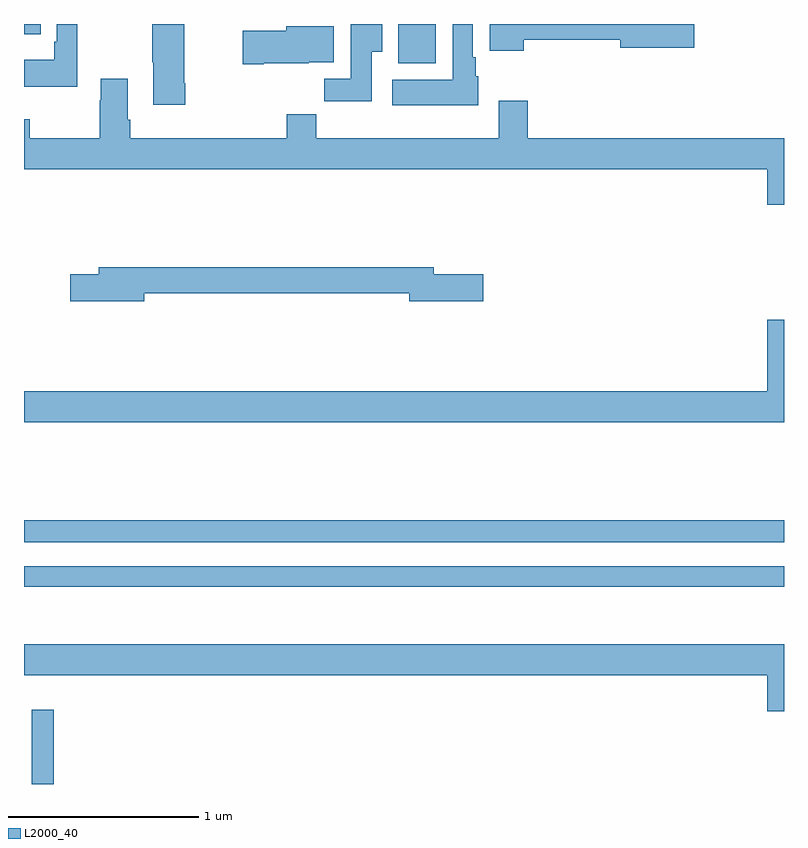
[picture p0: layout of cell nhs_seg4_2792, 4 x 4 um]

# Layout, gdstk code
import gdstk
lib = gdstk.Library(unit=1e-6, precision=1e-09)
def R(c, l, rs):  # rectangles x0, y0, x1, y1
    for r in rs: c.add(gdstk.rectangle(r[:2], r[2:], *l))
def P(c, l, *ps):  # polygons
    for p in ps: c.add(gdstk.Polygon(p, *l))
L2000_40 = (2000, 40)

nhs_seg4_2792 = lib.new_cell('nhs_seg4_2792')
R(nhs_seg4_2792, L2000_40, [(257.04,810.9,257.156,811.291), (257,811.938,261,812.046), (257,812.172,261,812.288), (258.971,814.694,259.168,814.9), (257,814.847,257.087,814.9)])
P(nhs_seg4_2792, L2000_40, [(257.281,814.9),(257.172,814.9),(257.172,814.807),(257.16,814.807),(257.16,814.711),(257,814.711),(257,814.571),(257.281,814.571)],
  [(259.63,814.816),(260.138,814.816),(260.138,814.774),(260.527,814.774),(260.527,814.9),(259.451,814.9),(259.451,814.76),(259.63,814.76)],
  [(258.829,814.753),(258.886,814.753),(258.886,814.9),(258.719,814.9),(258.719,814.612),(258.58,814.612),(258.58,814.494),(258.829,814.494)],
  [(259.39,814.626),(259.378,814.626),(259.378,814.726),(259.363,814.726),(259.363,814.9),(259.256,814.9),(259.256,814.606),(258.939,814.606),(258.939,814.472),(259.39,814.472)],
  [(257.849,814.588),(257.844,814.588),(257.844,814.9),(257.674,814.9),(257.674,814.699),(257.681,814.699),(257.681,814.476),(257.849,814.476)],
  [(258.262,814.694),(258.498,814.694),(258.498,814.7),(258.631,814.7),(258.631,814.888),(258.38,814.888),(258.38,814.865),(258.15,814.865),(258.15,814.687),(258.262,814.687)],
  [(261,814.3),(259.652,814.3),(259.652,814.495),(259.499,814.495),(259.499,814.3),(258.539,814.3),(258.539,814.424),(258.383,814.424),(258.383,814.3),(257.558,814.3),(257.558,814.396),(257.545,814.396),(257.545,814.612),(257.405,814.612),(257.405,814.499),(257.398,814.499),(257.398,814.3),(257.031,814.3),(257.031,814.399),(257,814.399),(257,814.136),(260.912,814.136),(260.912,813.948),(261,813.948)],
  [(257.632,813.484),(259.028,813.484),(259.028,813.442),(259.416,813.442),(259.416,813.584),(259.156,813.584),(259.156,813.62),(257.393,813.62),(257.393,813.584),(257.244,813.584),(257.244,813.442),(257.632,813.442)],
  [(261,813.343),(260.912,813.343),(260.912,812.968),(257,812.968),(257,812.804),(261,812.804)],
  [(261,811.636),(257,811.636),(257,811.472),(260.912,811.472),(260.912,811.284),(261,811.284)])

lib.write_gds('nhs_seg4_2792.gds')
